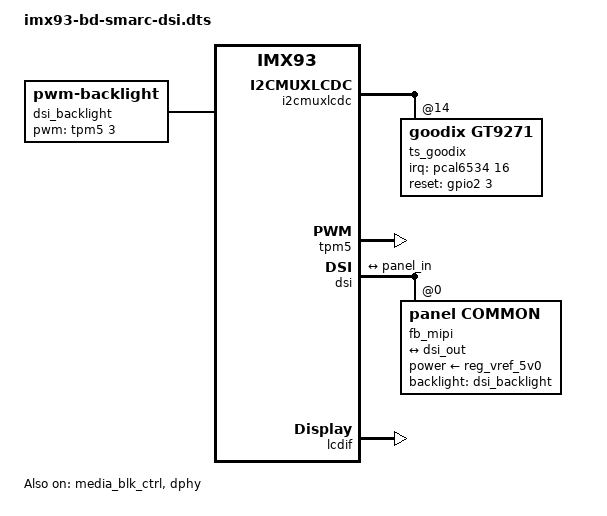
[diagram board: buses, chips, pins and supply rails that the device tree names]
// SPDX-License-Identifier: (GPL-2.0-or-later OR MIT)
/*
 * Copyright 2022 NXP
 */

/dts-v1/;

#include "imx93-bd-smarc.dts"

#define DSI 8 // 10 = sn65, 8 = no sn65

/ {
	bd-variant = "i.MX93 SMARC Board DSI 8\"";

	dsi_backlight: dsi-backlight {
                brightness-levels = <0 1 2 3 4 5 6 7 8 9 10>;
                compatible = "pwm-backlight";
                default-brightness-level = <8>;
                display = <&lcdif>;
                pinctrl-names = "default";
                pinctrl-0 = <&pinctrl_backlight>;
                pwms = <&tpm5 3 30000 0>;       /* 42 = 24MHz  30000 = 3.3 Khz */
                status = "okay";
        };

	mipi_cmds_ltk080a60a004t: mipi-cmds-ltk080a60a004t {
		alias = <&mipi_cmds_ltk080a60a004t>;
		delay-prepare = <100>;
		delay-unprepare = <2>;
		mipi-cmds-enable = /bits/ 8 <0x40 2>; // DELAY(2)
		mipi-cmds-disable = /bits/ 8 <0x40 50>; // DELAY(50)
		min-hs-clock-multiple = <8>;
		mode-video-hfp-disable;
		mode-video-hsa-disable;
	};

	mipi_cmds_m101nwwb: mipi-cmds-m101nwwb {
                alias = <&mipi_cmds_m101nwwb>;
                mode-video-hbp-disable;
                mode-video-hfp-disable;
                mode-video-hsa-disable;
        };
};

&i2cmuxlcdc {
	/* 0x5d or 0x14 */
	ts_goodix: touchscreen@14 {
                compatible = "goodix,gt9271";
                esd-recovery-timeout-ms = <2000>;
		interrupts-extended = <&pcal6534 16 IRQ_TYPE_EDGE_RISING>;
		interrupt-parent = <&pcal6534>;
                interrupts = <16 IRQ_TYPE_EDGE_RISING>;
                irq-gpios = <&pcal6534 16 GPIO_ACTIVE_HIGH>;
                pinctrl-names = "default";
                pinctrl-0 = <&pinctrl_ts_dsi_gt911>;
                reg = <0x14>;
                reset-gpios = <&gpio2 3 GPIO_ACTIVE_HIGH>;
                status = "okay";
        };
#if 0
	ts_lvds_ft5x06: touchscreen@38 {
                //compatible = "edt,ft5x06-ts";
                compatible = "edt,ft7250";
		interrupt-parent = <&pcal6534>;
                interrupts = <16 IRQ_TYPE_EDGE_FALLING>;
                pinctrl-names = "default";
                pinctrl-0 = <&pinctrl_ts_dsi_gt911>;
                reg = <0x38>;
                reset-gpios = <&gpio2 3 GPIO_ACTIVE_LOW>;
                wakeup-gpios = <&pcal6534 16 GPIO_ACTIVE_LOW>;
                status = "okay";
        };

	dsi0_sn65dsi84: dsi0@2c {
                compatible = "ti,sn65dsi84";
                enable-gpios = <&pcal6534 17 GPIO_ACTIVE_HIGH>;
                reg = <0x2c>;
                status = "okay";
        };
#endif
};

&tpm5 {
	status = "okay";
};

&media_blk_ctrl {
        status = "okay";
};

&dphy {
        status = "okay";
};

&dsi {
	status = "okay";

        fb_mipi: panel@0 {
                backlight = <&dsi_backlight>;
                bits-per-color = <8>;
                bridge-de-active = <0>;
                bus-format = "rgb888";
                clocks = <&clk IMX93_CLK_MIPI_TEST_BYTE>,
                        <&clk IMX93_CLK_MEDIA_DISP_PIX>;
                clock-names = "mipi_clk", "pixel_clock";
                compatible = "panel,common";
                dsi-format = "rgb888";
                dsi-lanes = <4>;

		/* This tends to be done by Boundarys U-boot */
#if DSI == 10
		mipi-cmds = <&mipi_cmds_m101nwwb>;
#else
		mipi-cmds = <&mipi_cmds_ltk080a60a004t>;
#endif

                mode-skip-eot;
                mode-video;
                mode-video-burst;
                panel-height-mm = <136>;
                panel-width-mm = <217>;

		/* used by dsi_to_lvds node ?? !!! */
//		pinctrl-names = "sn65dsi83";
//		pinctrl-0 = <&pinctrl_i2cmuxlcdc_sn65dsi83>;

                power-supply = <&reg_vref_5v0>;
                reg = <0>;
                spwg;

#if DSI == 10
                sn65dsi83 = <&dsi_to_lvds>;
#endif

                display-timings {
#if DSI == 10
                        t_dsi: t-dsi-default {
                                /* m101nwwb by default */
                                clock-frequency = <66000000>;
                                hactive = <1280>;
                                vactive = <800>;
                                hback-porch = <5>;
                                hfront-porch = <123>;
                                vback-porch = <3>;
                                vfront-porch = <24>;
                                hsync-len = <1>;
                                vsync-len = <1>;
                                hsync-active = <0>;
                                vsync-active = <0>;
                                de-active = <1>;
                        };
#else
			t_dsi: t-dsi-default {
				/* ltk080a60a004t */
				clock-frequency = <120000000>;
				hactive = <1200>;
				vactive = <1920>;
				hback-porch = <60>;
				vback-porch = <25>;
				hfront-porch = <42>;
				vfront-porch = <35>;
				hsync-len = <2>;
				vsync-len = <1>;
                                hsync-active = <0>;
                                vsync-active = <0>;
			};
#endif
		};
#if DSI == 10
		dsi_to_lvds: dsi-to-lvds {
                        enable-gpios = <&pcal6534 17 GPIO_ACTIVE_HIGH>;
                        i2c-address = <0x2c>;
                        i2c-bus = <&i2cmuxlcdc>;
                        interrupts-extended = <&pcal6534 18 (IRQ_TYPE_EDGE_RISING | GPIO_PULL_DOWN)>;
                        status = "okay";
                };
#endif

		port {
                        panel_in: endpoint {
                                remote-endpoint = <&dsi_out>;
                        };
                };
	};

	ports {
                port@1 {
                        reg = <1>;

                        dsi_out: endpoint {
                                remote-endpoint = <&panel_in>;
                        };
                };
        };
};

&lcdif {
        assigned-clock-rates = <484000000>, <121000000>, <400000000>, <133333333>;
	status = "okay";
};

&iomuxc {

	pinctrl_backlight: backlight {
		fsl,pins = <
			MX93_PAD_GPIO_IO26__TPM5_CH3				0x02
		>;
	};

	pinctrl_ts_dsi_gt911: tsdsigt911grp {
		fsl,pins = <
			MX93_PAD_GPIO_IO03__GPIO2_IO03			0x31e
		>;
	};
};
